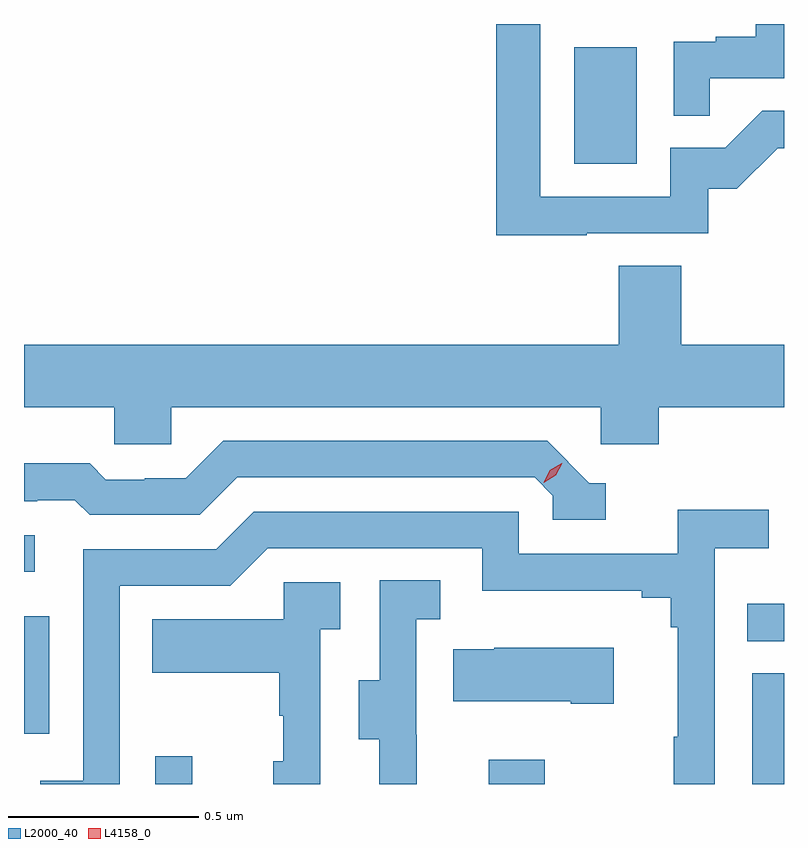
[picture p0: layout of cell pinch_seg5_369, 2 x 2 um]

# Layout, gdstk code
import gdstk
lib = gdstk.Library(unit=1e-6, precision=1e-09)
def R(c, l, rs):  # rectangles x0, y0, x1, y1
    for r in rs: c.add(gdstk.rectangle(r[:2], r[2:], *l))
def P(c, l, *ps):  # polygons
    for p in ps: c.add(gdstk.Polygon(p, *l))
L2000_40 = (2000, 40)
L4158_0 = (4158, 0)

pinch_seg5_369 = lib.new_cell('pinch_seg5_369')
R(pinch_seg5_369, L2000_40, [(988.059,886.404,988.157,886.477), (988.937,886.404,989.085,886.468), (989.63,886.404,989.714,886.695), (987.714,886.536,987.78,886.846), (989.617,886.78,989.714,886.879), (987.714,886.962,987.742,887.058), (989.162,888.036,989.326,888.343)])
P(pinch_seg5_369, L2000_40, [(989.519,888.261),(989.714,888.261),(989.714,888.404),(989.639,888.404),(989.639,888.37),(989.535,888.37),(989.535,888.357),(989.424,888.357),(989.424,888.163),(989.519,888.163)],
  [(989.195,887.853),(989.514,887.853),(989.514,887.97),(989.59,887.97),(989.697,888.077),(989.714,888.077),(989.714,888.176),(989.657,888.176),(989.559,888.078),(989.415,888.078),(989.415,887.949),(989.073,887.949),(989.073,888.404),(988.957,888.404),(988.957,887.848),(989.195,887.848)],
  [(988.101,887.396),(989.232,887.396),(989.232,887.298),(989.384,887.298),(989.384,887.396),(989.714,887.396),(989.714,887.56),(989.444,887.56),(989.444,887.768),(989.279,887.768),(989.279,887.56),(987.714,887.56),(987.714,887.396),(987.951,887.396),(987.951,887.298),(988.101,887.298)],
  [(989.245,887.196),(989.202,887.196),(989.091,887.307),(988.238,887.307),(988.139,887.208),(988.032,887.208),(988.032,887.205),(987.929,887.205),(987.887,887.248),(987.714,887.248),(987.714,887.148),(987.749,887.148),(987.749,887.151),(987.848,887.151),(987.887,887.112),(988.176,887.112),(988.275,887.211),(989.058,887.211),(989.106,887.163),(989.106,887.1),(989.245,887.1)],
  [(987.966,886.926),(988.257,886.926),(988.356,887.025),(988.92,887.025),(988.92,886.913),(989.339,886.913),(989.339,886.894),(989.416,886.894),(989.416,886.817),(989.435,886.817),(989.435,886.529),(989.424,886.529),(989.424,886.404),(989.532,886.404),(989.532,887.024),(989.674,887.024),(989.674,887.126),(989.435,887.126),(989.435,887.01),(989.016,887.01),(989.016,887.121),(988.319,887.121),(988.22,887.022),(987.87,887.022),(987.87,886.413),(987.757,886.413),(987.757,886.404),(987.966,886.404)],
  [(988.748,886.533),(988.746,886.533),(988.746,886.837),(988.81,886.837),(988.81,886.94),(988.65,886.94),(988.65,886.677),(988.595,886.677),(988.595,886.522),(988.649,886.522),(988.649,886.404),(988.748,886.404)],
  [(988.494,886.811),(988.546,886.811),(988.546,886.935),(988.398,886.935),(988.398,886.837),(988.051,886.837),(988.051,886.697),(988.386,886.697),(988.386,886.583),(988.396,886.583),(988.396,886.464),(988.37,886.464),(988.37,886.404),(988.494,886.404)],
  [(989.266,886.762),(988.951,886.762),(988.951,886.759),(988.843,886.759),(988.843,886.622),(989.153,886.622),(989.153,886.615),(989.266,886.615)])
P(pinch_seg5_369, L4158_0, [(989.082,887.197),(989.082,887.197),(989.098,887.23),(989.129,887.248),(989.13,887.248),(989.13,887.248),(989.113,887.216),(989.082,887.197)])

lib.write_gds('pinch_seg5_369.gds')
